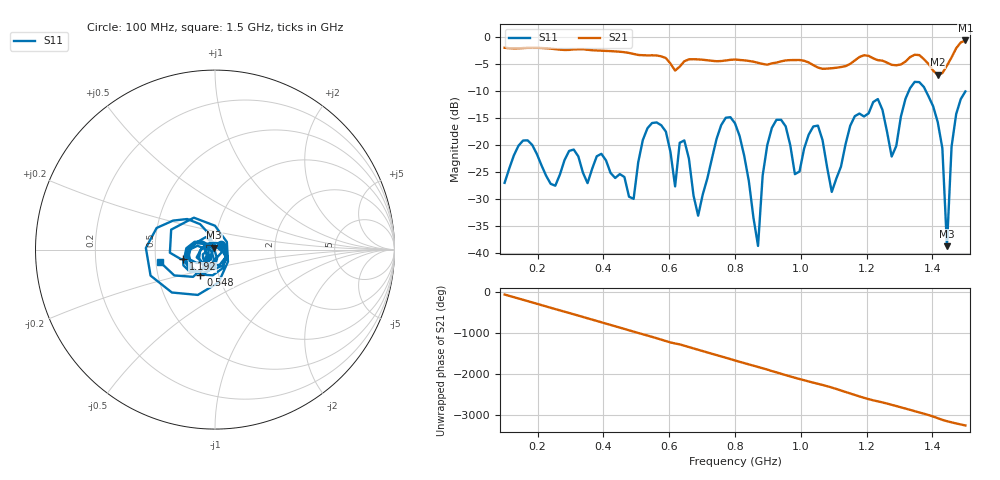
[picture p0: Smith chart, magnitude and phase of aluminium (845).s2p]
! NanoVNA-App
! Date: 2025-09-25 15:01:51
! Start: 100MHz Stop: 1,5GHz Points: 101
! S-Parameter data: F S11 S21 S12 S22
# Hz S RI R 50
!  Frequency  S11_Real  S11_Imag  S21_Real  S21_Imag  S12_Real  S12_Imag  S22_Real  S22_Imag
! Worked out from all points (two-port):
!   101 points, 100 MHz to 1.5 GHz, reference 50 ohm
!   highest |S21| = -0.56 dB at 1.5 GHz (marker M1); lowest = -6.9 dB at 1.416 GHz (marker M2)
!   |S21| within 3 dB of the highest: start of sweep to 578.4 MHz; 1.459 GHz to end of sweep (the widest 2 of 4)
!   lowest |S11| = -38.7 dB at 1.444 GHz (marker M3), VSWR 1.02, Z = 49.5 + j1.02 ohm
!   |S11| at or under -10 dB: start of sweep to 1.328 GHz; 1.38 GHz to end of sweep
!   S12 and S22 are empty: the file has one direction only
!   S11 on the Smith chart (normalised r, x): 100 MHz: 1.07, +0.06; 548 MHz: 0.82, -0.23; 1.192 GHz: 0.70, -0.08; 1.5 GHz: 0.52, -0.08
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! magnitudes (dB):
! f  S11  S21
! 100 MHz  -27.0  -1.9
! 156 MHz  -19.1  -2.0
! 338 MHz  -25.1  -2.2
! 492 MHz  -29.9  -3.1
! 548 MHz  -15.9  -3.3
! 576 MHz  -16.3  -3.5
! 618 MHz  -27.6  -6.1
! 646 MHz  -19.1  -4.4
! 688 MHz  -33.1  -4.1
! 800 MHz  -15.9  -4.1
! 870 MHz  -38.7  -4.7
! 912 MHz  -16.8  -4.8
! 982 MHz  -25.4  -4.2
! 1.038 GHz  -16.5  -5.1
! 1.094 GHz  -28.7  -5.7
! 1.192 GHz  -14.7  -3.3
! 1.276 GHz  -22.1  -5.1
! 1.346 GHz  -8.2  -3.2
! 1.416 GHz  -15.7  -6.9
! 1.444 GHz  -38.7  -5.2
! 1.458 GHz  -20.2  -3.7
! 1.5 GHz  -10.0  -0.6
